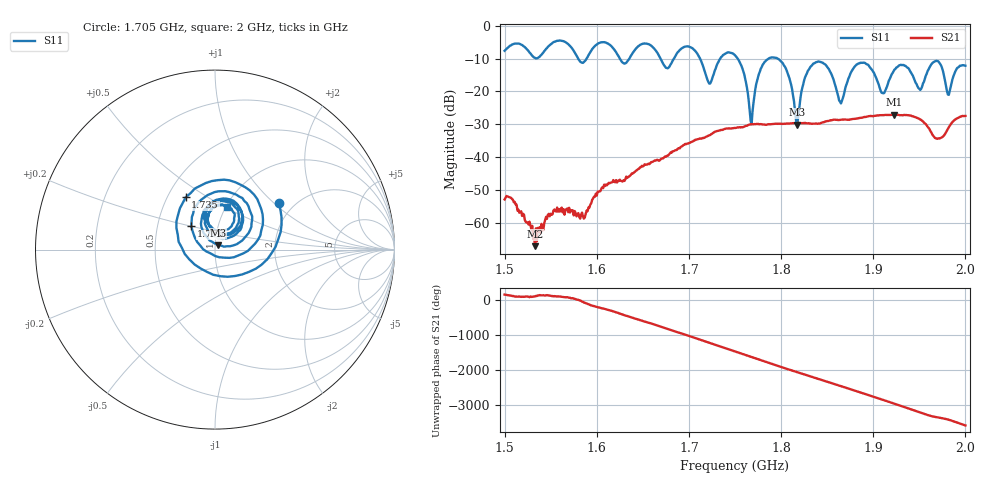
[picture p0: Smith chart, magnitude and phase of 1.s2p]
! NanoVNA-App by SYSJOINT et al v1.1.209 (+OD18)
! Date: 2026-01-21 14:53:47
! Start: 1,5GHz Stop: 2GHz Points: 501
! S-Parameter data: F S11 S21 S12 S22
# Hz S RI R 50
!  Frequency  S11_Real  S11_Imag  S21_Real  S21_Imag  S12_Real  S12_Imag  S22_Real  S22_Imag
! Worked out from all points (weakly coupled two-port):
!   501 points, 1.5 GHz to 2 GHz, reference 50 ohm
!   highest |S21| = -27.04 dB at 1.923 GHz (marker M1); lowest = -67.1 dB at 1.533 GHz (marker M2)
!   lowest |S11| = -30.1 dB at 1.817 GHz (marker M3), VSWR 1.06, Z = 51.6 + j2.72 ohm
!   |S11| at or under -10 dB: 1.712 GHz to 1.734 GHz (21.84 MHz wide, 1.27 % of centre); 1.753 GHz to 1.786 GHz (33.52 MHz wide, 1.89 % of centre); 1.796 GHz to end of sweep (the widest 3 of 6)
!   S12 and S22 are empty: the file has one direction only
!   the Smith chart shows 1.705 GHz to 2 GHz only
!   S11 on the Smith chart (normalised r, x): 1.705 GHz: 1.66, +1.07; 1.735 GHz: 0.62, +0.41; 1.776 GHz: 0.74, +0.20; 2 GHz: 1.02, +0.51
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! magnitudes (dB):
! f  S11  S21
! 1.5 GHz  -7.6  -52.8
! 1.533 GHz  -9.8  -67.1
! 1.561 GHz  -4.5  -55.6
! 1.584 GHz  -11.2  -56.9
! 1.667 GHz  -8.8  -41.0
! 1.705 GHz  -7.1  -35.0
! 1.722 GHz  -17.6  -33.4
! 1.735 GHz  -9.5  -31.7
! 1.75 GHz  -9.0  -31.1
! 1.767 GHz  -28.9  -30.0
! 1.776 GHz  -14.6  -30.0
! 1.8 GHz  -10.9  -29.8
! 1.817 GHz  -30.1  -29.6
! 1.834 GHz  -11.9  -29.8
! 1.865 GHz  -23.6  -28.6
! 1.884 GHz  -11.5  -28.1
! 1.917 GHz  -16.7  -27.1
! 1.923 GHz  -13.4  -27.0
! 1.951 GHz  -19.5  -28.5
! 1.97 GHz  -10.7  -34.4
! 1.982 GHz  -21.0  -30.9
! 2 GHz  -12.2  -27.4
